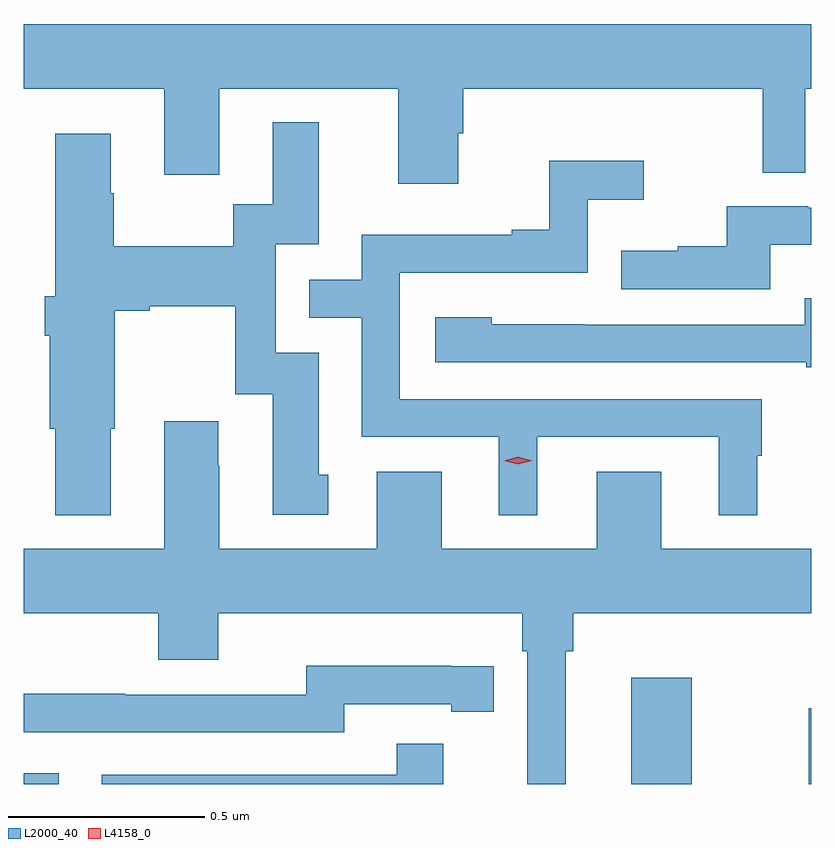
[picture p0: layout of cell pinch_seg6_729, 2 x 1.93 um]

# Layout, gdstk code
import gdstk
lib = gdstk.Library(unit=1e-6, precision=1e-09)
def R(c, l, rs):  # rectangles x0, y0, x1, y1
    for r in rs: c.add(gdstk.rectangle(r[:2], r[2:], *l))
def P(c, l, *ps):  # polygons
    for p in ps: c.add(gdstk.Polygon(p, *l))
L2000_40 = (2000, 40)
L4158_0 = (4158, 0)

pinch_seg6_729 = lib.new_cell('pinch_seg6_729')
R(pinch_seg6_729, L2000_40, [(420.872,924.259,420.961,924.286), (422.414,924.259,422.568,924.529), (422.865,924.259,422.872,924.451)])
P(pinch_seg6_729, L2000_40, [(421.975,925.911),(421.988,925.911),(421.988,926.024),(422.748,926.024),(422.748,925.81),(422.856,925.81),(422.856,926.024),(422.872,926.024),(422.872,926.188),(420.872,926.188),(420.872,926.024),(421.229,926.024),(421.229,925.806),(421.369,925.806),(421.369,926.024),(421.823,926.024),(421.823,925.782),(421.975,925.782)],
  [(421.093,925.161),(421.104,925.161),(421.104,925.46),(421.192,925.46),(421.192,925.472),(421.409,925.472),(421.409,925.248),(421.505,925.248),(421.505,924.942),(421.645,924.942),(421.645,925.044),(421.621,925.044),(421.621,925.353),(421.512,925.353),(421.512,925.629),(421.621,925.629),(421.621,925.939),(421.505,925.939),(421.505,925.73),(421.404,925.73),(421.404,925.624),(421.101,925.624),(421.101,925.758),(421.093,925.758),(421.093,925.909),(420.953,925.909),(420.953,925.497),(420.926,925.497),(420.926,925.397),(420.938,925.397),(420.938,925.161),(420.953,925.161),(420.953,924.941),(421.093,924.941)],
  [(422.176,925.14),(422.636,925.14),(422.636,924.941),(422.734,924.941),(422.734,925.092),(422.746,925.092),(422.746,925.236),(421.827,925.236),(421.827,925.557),(422.304,925.557),(422.304,925.742),(422.446,925.742),(422.446,925.841),(422.206,925.841),(422.206,925.666),(422.111,925.666),(422.111,925.653),(421.731,925.653),(421.731,925.539),(421.597,925.539),(421.597,925.443),(421.731,925.443),(421.731,925.14),(422.078,925.14),(422.078,924.941),(422.176,924.941)],
  [(422.767,925.628),(422.872,925.628),(422.872,925.722),(422.864,925.722),(422.864,925.725),(422.657,925.725),(422.657,925.624),(422.533,925.624),(422.533,925.612),(422.389,925.612),(422.389,925.515),(422.767,925.515)],
  [(422.872,925.492),(422.855,925.492),(422.855,925.425),(422.297,925.425),(422.297,925.426),(422.061,925.426),(422.061,925.444),(421.917,925.444),(421.917,925.329),(422.859,925.329),(422.859,925.317),(422.872,925.317)],
  [(422.248,924.596),(422.267,924.596),(422.267,924.692),(422.872,924.692),(422.872,924.856),(422.491,924.856),(422.491,925.051),(422.327,925.051),(422.327,924.856),(421.933,924.856),(421.933,925.051),(421.769,925.051),(421.769,924.856),(421.369,924.856),(421.369,925.067),(421.366,925.067),(421.366,925.18),(421.229,925.18),(421.229,924.856),(420.872,924.856),(420.872,924.692),(421.214,924.692),(421.214,924.575),(421.366,924.575),(421.366,924.692),(422.138,924.692),(422.138,924.596),(422.151,924.596),(422.151,924.259),(422.248,924.259)],
  [(421.686,924.462),(421.958,924.462),(421.958,924.442),(422.066,924.442),(422.066,924.558),(421.958,924.558),(421.958,924.559),(421.59,924.559),(421.59,924.486),(421.13,924.486),(421.13,924.488),(420.872,924.488),(420.872,924.39),(421.686,924.39)],
  [(421.937,924.361),(421.819,924.361),(421.819,924.282),(421.071,924.282),(421.071,924.259),(421.937,924.259)])
P(pinch_seg6_729, L4158_0, [(422.127,925.07),(422.091,925.08),(422.091,925.08),(422.091,925.08),(422.127,925.09),(422.163,925.08),(422.163,925.08),(422.163,925.08)])

lib.write_gds('pinch_seg6_729.gds')
